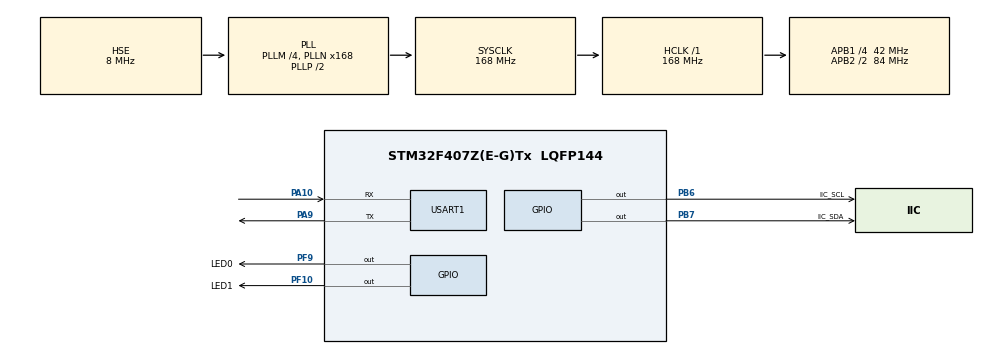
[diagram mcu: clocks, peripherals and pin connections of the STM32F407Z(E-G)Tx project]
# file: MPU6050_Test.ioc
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Mcu.Family=STM32F4
Mcu.Name=STM32F407Z(E-G)Tx
Mcu.Package=LQFP144
NVIC.PriorityGroup=NVIC_PRIORITYGROUP_4
NVIC.TIM3_IRQn=true\:0\:0\:false\:false\:true\:true\:true
PA10.Mode=Asynchronous
PA10.Signal=USART1_RX
PA13.Mode=Serial_Wire
PA13.Signal=SYS_JTMS-SWDIO
PA14.Mode=Serial_Wire
PA14.Signal=SYS_JTCK-SWCLK
PA9.Mode=Asynchronous
PA9.Signal=USART1_TX
PB6.GPIO_Label=IIC_SCL
PB6.GPIO_PuPd=GPIO_PULLUP
PB6.GPIO_Speed=GPIO_SPEED_FREQ_HIGH
PB6.Signal=GPIO_Output
PB7.GPIO_Label=IIC_SDA
PB7.GPIO_PuPd=GPIO_PULLUP
PB7.GPIO_Speed=GPIO_SPEED_FREQ_HIGH
PB7.Signal=GPIO_Output
PF10.GPIO_Label=LED1
PF10.GPIO_PuPd=GPIO_PULLUP
PF10.PinState=GPIO_PIN_SET
PF10.Signal=GPIO_Output
PF9.GPIO_Label=LED0
PF9.GPIO_ModeDefaultOutputPP=GPIO_MODE_OUTPUT_PP
PF9.GPIO_PuPd=GPIO_PULLUP
PF9.PinState=GPIO_PIN_SET
PF9.Signal=GPIO_Output
PH0-OSC_IN.Mode=HSE-External-Oscillator
PH0-OSC_IN.Signal=RCC_OSC_IN
PH1-OSC_OUT.Mode=HSE-External-Oscillator
PH1-OSC_OUT.Signal=RCC_OSC_OUT
ProjectManager.HeapSize=0x200
ProjectManager.StackSize=0x400
ProjectManager.TargetToolchain=MDK-ARM V5
RCC.48MHZClocksFreq_Value=84000000
RCC.AHBFreq_Value=168000000
RCC.APB1CLKDivider=RCC_HCLK_DIV4
RCC.APB1Freq_Value=42000000
RCC.APB1TimFreq_Value=84000000
RCC.APB2CLKDivider=RCC_HCLK_DIV2
RCC.APB2Freq_Value=84000000
RCC.APB2TimFreq_Value=168000000
RCC.CortexFreq_Value=168000000
RCC.HCLKFreq_Value=168000000
RCC.HSE_VALUE=8000000
RCC.HSI_VALUE=16000000
RCC.LSE_VALUE=32768
RCC.PLLM=4
RCC.PLLN=168
RCC.PLLSourceVirtual=RCC_PLLSOURCE_HSE
RCC.SYSCLKFreq_VALUE=168000000
RCC.SYSCLKSource=RCC_SYSCLKSOURCE_PLLCLK
RCC.VCOOutputFreq_Value=336000000
TIM3.Period=1000-1
TIM3.Prescaler=84-1
USART1.VirtualMode=VM_ASYNC
VP_TIM3_VS_ClockSourceINT.Mode=Internal
board=custom

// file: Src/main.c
/* USER CODE BEGIN Header */
/**
  ******************************************************************************
  * @file           : main.c
  * @brief          : Main program body
  ******************************************************************************
  * @attention
  *
  * <h2><center>&copy; Copyright (c) 2020 STMicroelectronics.
  * All rights reserved.</center></h2>
  *
  * This software component is licensed by ST under BSD 3-Clause license,
  * the "License"; You may not use this file except in compliance with the
  * License. You may obtain a copy of the License at:
  *                        opensource.org/licenses/BSD-3-Clause
  *
  ******************************************************************************
  */
/* USER CODE END Header */

#include "main.h"
#include "tim.h"
#include "usart.h"
#include "gpio.h"

/* USER CODE BEGIN Includes */

#include "stdio.h"
#include "mpu6050.h"
#include "math.h"
#include "IIC.h"
#include "imu.h"
#include "SW_Wave.h"
#include "filter.h"

/* USER CODE END Includes */

/* USER CODE BEGIN PTD */

uint8_t DATA_PRINTF = 0;
uint8_t IMU_CALC = 0;

/* USER CODE END PTD */

/* USER CODE BEGIN PD */
/*******************************************硬件连接*********************************************
模块：采用的是淘宝上十多块钱的MPU6050模块（只支持IIC通信）
连接：
     PB6---SCL
     PB7---SDA
     5V---VCC
     GND---GND
     其他引脚悬空
注：通信采用的是模拟IIC，换成其它IO同样适用（本工程仅限于F4系列，若要用在其它
系列要在IIC.h文件中作相当的改动）
**********************************************END***********************************************/

/* USER CODE END PD */

void SystemClock_Config(void);

int main(void)
{

  /* MCU Configuration--------------------------------------------------------*/

  /* Reset of all peripherals, Initializes the Flash interface and the Systick. */
  HAL_Init();

  /* Configure the system clock */
  SystemClock_Config();

  /* Initialize all configured peripherals */
  MX_GPIO_Init();
  MX_TIM3_Init();
  MX_USART1_UART_Init();
  /* USER CODE BEGIN 2 */
  MPU6050_Init();  //MPU6050初始化
  HAL_TIM_Base_Start_IT(&htim3);  //使能TIM3中断，溢出时间为1ms
  IIR_Filter_Init();

  /* USER CODE END 2 */

  /* Infinite loop */
  while (1)
  {

    /* USER CODE BEGIN 3 */

      if(IMU_CALC)
      {
          IMU_CALC = 0;

          HAL_GPIO_TogglePin(LED1_GPIO_Port, LED1_Pin);
          MPU6050_Read();
          MahonyAHRSupdateIMU(&IMU_Data);

      }
      if(DATA_PRINTF)
      {
          DATA_PRINTF = 0;

//          printf("\n\r acc offset: %d, %d, %d \n\r", MPU_Data.ax_offset, MPU_Data.ay_offset, MPU_Data.az_offset);
//          printf("\n\r gyro offset: %d, %d, %d \n\r", MPU_Data.gx_offset, MPU_Data.gy_offset, MPU_Data.gz_offset);

//          printf("\n\r acc: %d, %d, %d \n\r", MPU_Data.Acc.X, MPU_Data.Acc.Y, MPU_Data.Acc.Z);  //加速度原始数据
//          printf("\n\r gyro: %d, %d, %d \n\r", MPU_Data.gx, MPU_Data.gy, MPU_Data.gz);  //陀螺仪原始数据
//          printf("\n\r %d \n\r", MPU_Data.ay);

//          printf("\n\r acc: %f, %f, %f \n\r", IMU_Data.ax, IMU_Data.ay, IMU_Data.az);
//          printf("\n\r gyro: %f, %f, %f \n\r", IMU_Data.wx, IMU_Data.wy, IMU_Data.wz);
//          printf("\n\r temp: %d \n\r", OFFSET);

          printf("\n\r %f, %f, %f \n\r", IMU_Data.yaw, IMU_Data.pit, IMU_Data.rol);

//          SwDataWaveUpdate();

      }

  }
  /* USER CODE END 3 */
}

void SystemClock_Config(void)
{
  RCC_OscInitTypeDef RCC_OscInitStruct = {0};
  RCC_ClkInitTypeDef RCC_ClkInitStruct = {0};

  /** Configure the main internal regulator output voltage
  */
  __HAL_RCC_PWR_CLK_ENABLE();
  __HAL_PWR_VOLTAGESCALING_CONFIG(PWR_REGULATOR_VOLTAGE_SCALE1);
  /** Initializes the CPU, AHB and APB busses clocks
  */
  RCC_OscInitStruct.OscillatorType = RCC_OSCILLATORTYPE_HSE;
  RCC_OscInitStruct.HSEState = RCC_HSE_ON;
  RCC_OscInitStruct.PLL.PLLState = RCC_PLL_ON;
  RCC_OscInitStruct.PLL.PLLSource = RCC_PLLSOURCE_HSE;
  RCC_OscInitStruct.PLL.PLLM = 4;
  RCC_OscInitStruct.PLL.PLLN = 168;
  RCC_OscInitStruct.PLL.PLLP = RCC_PLLP_DIV2;
  RCC_OscInitStruct.PLL.PLLQ = 4;
  if (HAL_RCC_OscConfig(&RCC_OscInitStruct) != HAL_OK)
  {
    Error_Handler();
  }
  /** Initializes the CPU, AHB and APB busses clocks
  */
  RCC_ClkInitStruct.ClockType = RCC_CLOCKTYPE_HCLK|RCC_CLOCKTYPE_SYSCLK
                              |RCC_CLOCKTYPE_PCLK1|RCC_CLOCKTYPE_PCLK2;
  RCC_ClkInitStruct.SYSCLKSource = RCC_SYSCLKSOURCE_PLLCLK;
  RCC_ClkInitStruct.AHBCLKDivider = RCC_SYSCLK_DIV1;
  RCC_ClkInitStruct.APB1CLKDivider = RCC_HCLK_DIV4;
  RCC_ClkInitStruct.APB2CLKDivider = RCC_HCLK_DIV2;

  if (HAL_RCC_ClockConfig(&RCC_ClkInitStruct, FLASH_LATENCY_5) != HAL_OK)
  {
    Error_Handler();
  }
}

/* USER CODE BEGIN 4 */
void HAL_TIM_PeriodElapsedCallback(TIM_HandleTypeDef *htim)
{
    static uint16_t ms1 = 0, ms50 = 0;
    if(htim->Instance == TIM3)
    {
        ms1++;
        ms50++;
        if(ms50 >= 50)
        {
            ms50 = 0;
            DATA_PRINTF = 1;
        }
        if(ms1 >= 1)
        {
            ms1 = 0;
            IMU_CALC = 1;
        }

    }

}

/* USER CODE END 4 */

void Error_Handler(void)
{
}

/************************ (C) COPYRIGHT STMicroelectronics *****END OF FILE****/
